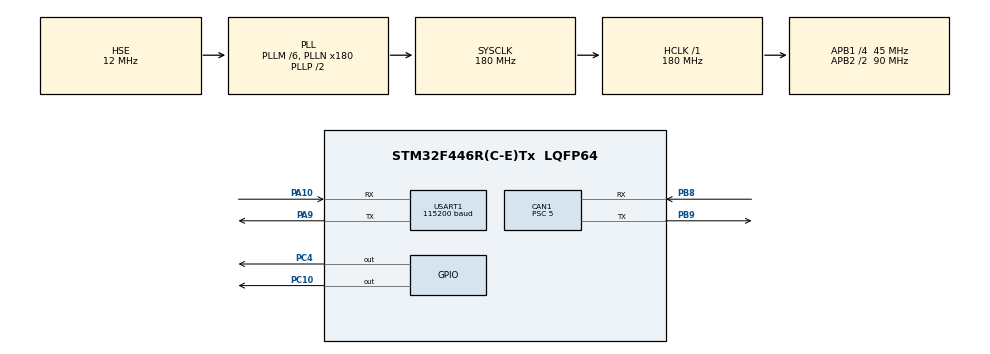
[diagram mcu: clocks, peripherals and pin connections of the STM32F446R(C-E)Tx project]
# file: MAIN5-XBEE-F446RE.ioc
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CAN1.BS1=CAN_BS1_7TQ
CAN1.CalculateTimeQuantum=111.11111111111111
CAN1.Prescaler=5
Mcu.Family=STM32F4
Mcu.Name=STM32F446R(C-E)Tx
Mcu.Package=LQFP64
NVIC.PriorityGroup=NVIC_PRIORITYGROUP_4
NVIC.TIM3_IRQn=true\:0\:0\:false\:false\:true\:true\:true
NVIC.TIM4_IRQn=true\:0\:0\:false\:false\:true\:true\:true
NVIC.USART1_IRQn=true\:0\:0\:false\:false\:true\:true\:true
PA10.Mode=Asynchronous
PA10.Signal=USART1_RX
PA13.Mode=Serial_Wire
PA13.Signal=SYS_JTMS-SWDIO
PA14.Mode=Serial_Wire
PA14.Signal=SYS_JTCK-SWCLK
PA9.Mode=Asynchronous
PA9.Signal=USART1_TX
PB8.Mode=Master
PB8.Signal=CAN1_RX
PB9.Mode=Master
PB9.Signal=CAN1_TX
PC10.Signal=GPIO_Output
PC4.Signal=GPIO_Output
PH0-OSC_IN.Mode=HSE-External-Oscillator
PH0-OSC_IN.Signal=RCC_OSC_IN
PH1-OSC_OUT.Mode=HSE-External-Oscillator
PH1-OSC_OUT.Signal=RCC_OSC_OUT
ProjectManager.HeapSize=0x200
ProjectManager.StackSize=0x400
ProjectManager.TargetToolchain=STM32CubeIDE
RCC.AHBFreq_Value=180000000
RCC.APB1CLKDivider=RCC_HCLK_DIV4
RCC.APB1Freq_Value=45000000
RCC.APB1TimFreq_Value=90000000
RCC.APB2CLKDivider=RCC_HCLK_DIV2
RCC.APB2Freq_Value=90000000
RCC.APB2TimFreq_Value=180000000
RCC.CortexFreq_Value=180000000
RCC.HCLKFreq_Value=180000000
RCC.HSE_VALUE=12000000
RCC.PLLM=6
RCC.PLLN=180
RCC.PLLSourceVirtual=RCC_PLLSOURCE_HSE
RCC.SYSCLKFreq_VALUE=180000000
RCC.SYSCLKSource=RCC_SYSCLKSOURCE_PLLCLK
RCC.USBFreq_Value=180000000
RCC.VCOOutputFreq_Value=360000000
TIM3.Period=9999
TIM3.Prescaler=449
TIM4.Period=9999
TIM4.Prescaler=89
USART1.BaudRate=115200
USART1.VirtualMode=VM_ASYNC
VP_TIM3_VS_ClockSourceINT.Mode=Internal
VP_TIM4_VS_ClockSourceINT.Mode=Internal
board=custom

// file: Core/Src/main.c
/* USER CODE BEGIN Header */
/**
  ******************************************************************************
  * @file           : main.c
  * @brief          : Main program body
  ******************************************************************************
  * @attention
  *
  * <h2><center>&copy; Copyright (c) 2020 STMicroelectronics.
  * All rights reserved.</center></h2>
  *
  * This software component is licensed by ST under BSD 3-Clause license,
  * the "License"; You may not use this file except in compliance with the
  * License. You may obtain a copy of the License at:
  *                        opensource.org/licenses/BSD-3-Clause
  *
  ******************************************************************************
  */
/* USER CODE END Header */

#include "main.h"
#include "can.h"
#include "tim.h"
#include "usart.h"
#include "gpio.h"

/* USER CODE BEGIN Includes */
#include "command.h"
#include<string.h>
/* USER CODE END Includes */

/* USER CODE BEGIN PD */
/*CAN*/
CAN_HandleTypeDef hcan1;
CAN_TxHeaderTypeDef TxHeader;
CAN_RxHeaderTypeDef RxHeader;
CAN_FilterTypeDef sFilterConfig;
/* USER CODE END PD */

/* USER CODE BEGIN PV */
uint8_t TxData[8]={1,0,0,0,0,0,0,0};
uint8_t RxData[8]={10,0,0,0,0,0,0,0};
uint8_t uart_data[8];
uint32_t TxMailbox=0;
int symbol;
float symbol_buf=0;
/* USER CODE END PV */

void SystemClock_Config(void);
/* USER CODE BEGIN PFP */

void HAL_TIM_PeriodElapsedCallback(TIM_HandleTypeDef *htim)
{
	if(htim->Instance == TIM3)
	{
		HAL_UART_Transmit(&huart1,RxData,7, 100);
	}
	if(htim->Instance == TIM4)
	{
		HAL_CAN_AddTxMessage(&hcan1,&TxHeader,TxData,&TxMailbox);
		HAL_CAN_GetRxMessage(&hcan1,CAN_RX_FIFO0,&RxHeader,RxData);

	}

}
/* USER CODE END PFP */

int main(void)
{

  /* MCU Configuration--------------------------------------------------------*/

  /* Reset of all peripherals, Initializes the Flash interface and the Systick. */
  HAL_Init();

  /* Configure the system clock */
  SystemClock_Config();

  /* Initialize all configured peripherals */
  MX_GPIO_Init();
  MX_CAN1_Init();
  MX_USART1_UART_Init();
  MX_TIM3_Init();
  MX_TIM4_Init();
  /* USER CODE BEGIN 2 */
  CAN_Start(&hcan1, &TxHeader,&sFilterConfig,0x10);
  HAL_TIM_Base_Start_IT(&htim3);
  HAL_TIM_Base_Start_IT(&htim4);
  /* USER CODE END 2 */

  /* Infinite loop */
  /* USER CODE BEGIN WHILE */
  while (1)
  {

	  /*
  	  HAL_UART_Transmit(&huart1,"dir w(CW) or s(CCW):",20, 100);
  	  HAL_UART_Receive(&huart1,&uart_data[0],1, 0xFFFF);
  	  HAL_UART_Transmit(&huart1,uart_data,1, 100);
  	  HAL_UART_Transmit(&huart1,"\r\n",4, 100);
      //HAL_UART_Transmit(&huart1,"a",1, 100);
*/
	  HAL_UART_Receive(&huart1,&uart_data[0],1, 100);
	  LED_RED(GPIOC, GPIO_PIN_10);
	if(uart_data[0]=='w'){

		if(TxData[0]==1)
			symbol=100;
		else symbol+=100;
			TxData[0]=0;

		uart_data[0]=0;

	}else if(uart_data[0]=='r'){

	    if(TxData[0]==0)
	    	symbol=70;
	    else symbol+=70;
	    	TxData[0]=1;

	    uart_data[0]=0;

	}else if(uart_data[0]=='y'){

		symbol+=10;
		TxData[0]=0;
	    uart_data[0]=0;

	}else if(uart_data[0]=='u'){

		symbol+=10;
		TxData[0]=1;
	    uart_data[0]=0;

	}else if(uart_data[0]=='e'){

  		symbol=0;
  		TxData[0]=1;
  		uart_data[0]=0;

  	  }

	TxData[2]=symbol>>8;
	TxData[1]=symbol&255;
	symbol_buf=symbol;
	  if(uart_data[0]=='s'){
		  HAL_GPIO_WritePin(GPIOC, GPIO_PIN_4, GPIO_PIN_SET);
		  HAL_Delay(100);
		  HAL_GPIO_WritePin(GPIOC, GPIO_PIN_4, GPIO_PIN_RESET);
	  }else if(uart_data[0]=='c'){
		  TxData[0]='c';
		  TxData[1]='0';
		  TxData[2]='0';
	  }else if(uart_data[0]=='x'){
		  TxData[0]='x';
		  TxData[1]='0';
		  TxData[2]='0';
	  }else{
		  HAL_GPIO_WritePin(GPIOC, GPIO_PIN_10, GPIO_PIN_RESET);
	  }

	  //HAL_CAN_AddTxMessage(&hcan1,&TxHeader,TxData,&TxMailbox);

		//HAL_CAN_GetRxMessage(&hcan1,CAN_RX_FIFO0,&RxHeader,RxData);
	/*
	  if(RxHeader.StdId==0x11){
		  LED_TOGGLE(GPIOC,GPIO_PIN_10);
	  }
*/

	  //rpm=(RxData[1]&255)|(RxData[2]<<8)&65280;
    /* USER CODE END WHILE */

  }
}

void SystemClock_Config(void)
{
  RCC_OscInitTypeDef RCC_OscInitStruct = {0};
  RCC_ClkInitTypeDef RCC_ClkInitStruct = {0};

  /** Configure the main internal regulator output voltage
  */
  __HAL_RCC_PWR_CLK_ENABLE();
  __HAL_PWR_VOLTAGESCALING_CONFIG(PWR_REGULATOR_VOLTAGE_SCALE1);
  /** Initializes the CPU, AHB and APB busses clocks
  */
  RCC_OscInitStruct.OscillatorType = RCC_OSCILLATORTYPE_HSE;
  RCC_OscInitStruct.HSEState = RCC_HSE_ON;
  RCC_OscInitStruct.PLL.PLLState = RCC_PLL_ON;
  RCC_OscInitStruct.PLL.PLLSource = RCC_PLLSOURCE_HSE;
  RCC_OscInitStruct.PLL.PLLM = 6;
  RCC_OscInitStruct.PLL.PLLN = 180;
  RCC_OscInitStruct.PLL.PLLP = RCC_PLLP_DIV2;
  RCC_OscInitStruct.PLL.PLLQ = 2;
  RCC_OscInitStruct.PLL.PLLR = 2;
  if (HAL_RCC_OscConfig(&RCC_OscInitStruct) != HAL_OK)
  {
    Error_Handler();
  }
  /** Activate the Over-Drive mode
  */
  if (HAL_PWREx_EnableOverDrive() != HAL_OK)
  {
    Error_Handler();
  }
  /** Initializes the CPU, AHB and APB busses clocks
  */
  RCC_ClkInitStruct.ClockType = RCC_CLOCKTYPE_HCLK|RCC_CLOCKTYPE_SYSCLK
                              |RCC_CLOCKTYPE_PCLK1|RCC_CLOCKTYPE_PCLK2;
  RCC_ClkInitStruct.SYSCLKSource = RCC_SYSCLKSOURCE_PLLCLK;
  RCC_ClkInitStruct.AHBCLKDivider = RCC_SYSCLK_DIV1;
  RCC_ClkInitStruct.APB1CLKDivider = RCC_HCLK_DIV4;
  RCC_ClkInitStruct.APB2CLKDivider = RCC_HCLK_DIV2;

  if (HAL_RCC_ClockConfig(&RCC_ClkInitStruct, FLASH_LATENCY_5) != HAL_OK)
  {
    Error_Handler();
  }
}

void Error_Handler(void)
{
}

/************************ (C) COPYRIGHT STMicroelectronics *****END OF FILE****/
